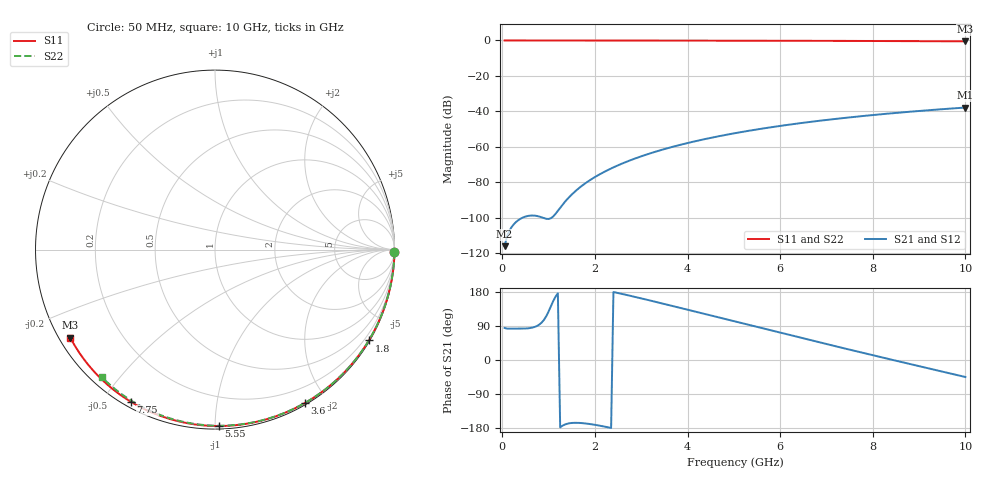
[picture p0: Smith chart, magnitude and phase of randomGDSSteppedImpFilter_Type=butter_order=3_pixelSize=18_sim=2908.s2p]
! freq	dB(S11)	phase(S11)	dB(S12)	phase(S12)
!  dB(S21)	phase(S21)	dB(S22)	phase(S22)
!S-par simulation data
#  GHz  S  DB  R 50
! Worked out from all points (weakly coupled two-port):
!   200 points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, 50 MHz to 10 GHz, reference 50 ohm
!   highest |S21| = -37.79 dB at 10 GHz (marker M1); lowest = -115.9 dB at 50 MHz (marker M2)
!   lowest |S11| = -0.5 dB at 10 GHz (marker M3), VSWR 34.61, Z = 1.56 - j14 ohm
!   |S11| at or under -10 dB: nowhere
!   |S22| runs from -0.4 to 0.0 dB; largest |S21 - S12| = 0
!   S11 on the Smith chart (normalised r, x): 50 MHz: open; 1.8 GHz: 0.03, -3.66; 3.6 GHz: 0.02, -1.75; 5.55 GHz: 0.02, -1.02; 7.75 GHz: 0.02, -0.59; 10 GHz: 0.03, -0.28
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0.05  -0.00 -0.9  -115.90 84.5  -115.90 84.5  -0.00 -0.8
0.45  -0.01 -7.8  -99.71 82.8  -99.71 82.8  -0.01 -6.8
0.9  -0.02 -15.4  -100.12 106.0  -100.12 106.0  -0.02 -13.6
1.3  -0.03 -22.2  -92.58 -173.4  -92.58 -173.4  -0.02 -19.6
1.75  -0.04 -29.7  -81.29 -166.8  -81.29 -166.8  -0.03 -26.2
1.8  -0.04 -30.6  -80.34 -167.5  -80.34 -167.5  -0.03 -26.9
1.85  -0.04 -31.4  -79.44 -168.2  -79.44 -168.2  -0.04 -27.7
2.05  -0.04 -34.7  -76.19 -172.1  -76.19 -172.1  -0.04 -30.6
2.2  -0.05 -37.2  -74.06 -175.5  -74.06 -175.5  -0.04 -32.8
2.5  -0.05 -42.1  -70.33 176.7  -70.33 176.7  -0.05 -37.1
2.9  -0.06 -48.5  -66.20 165.5  -66.20 165.5  -0.06 -42.8
3.4  -0.08 -56.4  -61.95 150.8  -61.95 150.8  -0.07 -49.9
3.6  -0.08 -59.6  -60.47 144.8  -60.47 144.8  -0.07 -52.7
4.3  -0.10 -70.3  -56.00 123.6  -56.00 123.6  -0.09 -62.2
5.05  -0.13 -81.4  -52.12 100.8  -52.12 100.8  -0.11 -72.2
5.55  -0.15 -88.7  -49.92 85.6  -49.92 85.6  -0.13 -78.7
6.1  -0.17 -96.5  -47.78 69.0  -47.78 69.0  -0.15 -85.6
6.7  -0.20 -104.8  -45.72 51.0  -45.72 51.0  -0.18 -93.0
7.75  -0.28 -119.0  -42.67 20.0  -42.67 20.0  -0.24 -105.6
8.35  -0.33 -126.9  -41.17 2.5  -41.17 2.5  -0.29 -112.6
9.2  -0.41 -138.1  -39.31 -22.0  -39.31 -22.0  -0.36 -122.4
10  -0.50 -148.7  -37.79 -44.9  -37.79 -44.9  -0.44 -131.4
